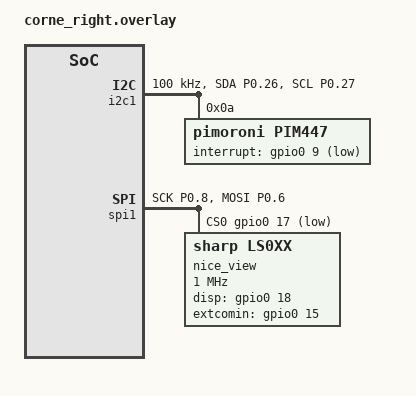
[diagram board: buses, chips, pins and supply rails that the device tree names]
/*
 * Copyright (c) 2020 Pete Johanson
 *
 * SPDX-License-Identifier: MIT
 */

#include "corne.dtsi"

&default_transform {
    col-offset = <6>;
};

&five_column_transform {
    col-offset = <6>;
};

&kscan0 {
    // Corne standard right-hand matrix pins
    row-gpios
        = <&gpio0 20 (GPIO_ACTIVE_HIGH | GPIO_PULL_DOWN)>
        , <&gpio0 24 (GPIO_ACTIVE_HIGH | GPIO_PULL_DOWN)>
        , <&gpio0 22 (GPIO_ACTIVE_HIGH | GPIO_PULL_DOWN)>
        , <&gpio0 23 (GPIO_ACTIVE_HIGH | GPIO_PULL_DOWN)>
        ;

    col-gpios
        = <&pro_micro 14 GPIO_ACTIVE_HIGH>
        , <&pro_micro 15 GPIO_ACTIVE_HIGH>
        , <&pro_micro 18 GPIO_ACTIVE_HIGH>
        , <&pro_micro 19 GPIO_ACTIVE_HIGH>
        , <&pro_micro 20 GPIO_ACTIVE_HIGH>
        , <&pro_micro 21 GPIO_ACTIVE_HIGH>
        ;
};

// Configure I2C1 pins for the PIM447 trackball
&pinctrl {
    i2c1_default: i2c1_default {
        group1 {
            // Using P0.26 (SDA) and P0.27 (SCL)
            psels = <NRF_PSEL(TWIM_SDA, 0, 26)>,
                    <NRF_PSEL(TWIM_SCL, 0, 27)>;
            bias-pull-up;
        };
    };

    i2c1_sleep: i2c1_sleep {
        group1 {
            psels = <NRF_PSEL(TWIM_SDA, 0, 26)>,
                    <NRF_PSEL(TWIM_SCL, 0, 27)>;
            low-power-enable;
        };
    };
};


&i2c1 {
	status = "okay";

    compatible = "nordic,nrf-twi";
    pinctrl-0 = <&i2c1_default>;
    pinctrl-1 = <&i2c1_sleep>;
    pinctrl-names = "default", "sleep";
    clock-frequency = <I2C_BITRATE_STANDARD>;

    pim447: pim447@0a {
        compatible = "pimoroni,pim447";
        reg = <0x0A>;
        interrupt-gpios = <&gpio0 9 (GPIO_ACTIVE_LOW | GPIO_PULL_UP)>;
    };
};

/* NICE!VIEW display configuration */
&pinctrl {
    spi1_default: spi1_default {
        group1 {
            psels = <NRF_PSEL(SPIM_SCK, 0, 8)>,
                    <NRF_PSEL(SPIM_MOSI, 0, 6)>;
        };
    };

    spi1_sleep: spi1_sleep {
        group1 {
            psels = <NRF_PSEL(SPIM_SCK, 0, 8)>,
                    <NRF_PSEL(SPIM_MOSI, 0, 6)>;
            low-power-enable;
        };
    };
};

&spi1 {
    status = "okay";
    compatible = "nordic,nrf-spim";
    pinctrl-0 = <&spi1_default>;
    pinctrl-1 = <&spi1_sleep>;
    pinctrl-names = "default", "sleep";

    cs-gpios = <&gpio0 17 GPIO_ACTIVE_LOW>;

    nice_view: nice_view@0 {
        compatible = "sharp,ls0xx";
        reg = <0>; /* chip select index */
        spi-max-frequency = <1000000>;

        disp-gpios = <&gpio0 18 GPIO_ACTIVE_HIGH>;
        extcomin-gpios = <&gpio0 15 GPIO_ACTIVE_HIGH>;
    };
};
